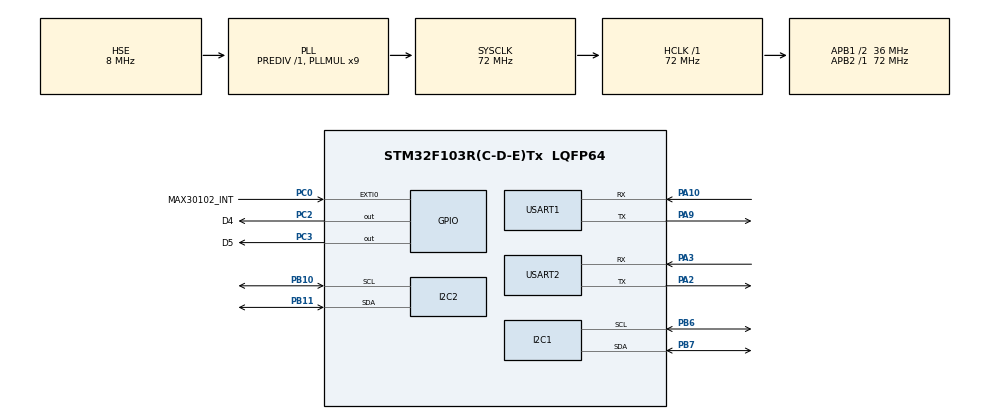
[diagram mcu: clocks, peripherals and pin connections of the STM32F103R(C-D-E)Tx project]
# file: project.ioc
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FREERTOS.BinarySemaphores01=LED_FLAG_Sem,Dynamic,NULL
FREERTOS.INCLUDE_eTaskGetState=1
FREERTOS.INCLUDE_pcTaskGetTaskName=1
FREERTOS.INCLUDE_uxTaskGetStackHighWaterMark=1
FREERTOS.INCLUDE_vTaskCleanUpResources=1
FREERTOS.INCLUDE_vTaskDelayUntil=1
FREERTOS.INCLUDE_xEventGroupSetBitFromISR=1
FREERTOS.INCLUDE_xQueueGetMutexHolder=1
FREERTOS.INCLUDE_xSemaphoreGetMutexHolder=1
FREERTOS.INCLUDE_xTaskAbortDelay=1
FREERTOS.INCLUDE_xTaskGetCurrentTaskHandle=1
FREERTOS.INCLUDE_xTaskGetHandle=1
FREERTOS.INCLUDE_xTimerPendFunctionCall=1
FREERTOS.Queues01=myQueue01,16,float,0,Dynamic,NULL,NULL;myQueue02,16,_Bool,0,Dynamic,NULL,NULL
FREERTOS.Tasks01=BH1750_Task,0,128,BH1750Task,Default,NULL,Dynamic,NULL,NULL;LED_TASK,0,128,LEDTask,Default,NULL,Dynamic,NULL,NULL;INFO_Task,0,128,INFOTask,Default,NULL,Dynamic,NULL,NULL;OneNETTask,0,128,OneNET_Task,Default,NULL,Dynamic,NULL,NULL;MAX30102_Task,1,128,MAX30102Task,Default,NULL,Dynamic,NULL,NULL
FREERTOS.Timers01=myTimer01,Timer01_Callback,osTimerPeriodic,Default,NULL,Dynamic,NULL
FREERTOS.configTIMER_QUEUE_LENGTH=20
FREERTOS.configTIMER_TASK_PRIORITY=4
FREERTOS.configTOTAL_HEAP_SIZE=4000
FREERTOS.configUSE_TIMERS=1
Mcu.Family=STM32F1
Mcu.Name=STM32F103R(C-D-E)Tx
Mcu.Package=LQFP64
NVIC.EXTI0_IRQn=true\:5\:0\:true\:false\:true\:true\:true\:true
NVIC.PriorityGroup=NVIC_PRIORITYGROUP_4
NVIC.TIM1_UP_IRQn=true\:15\:0\:false\:false\:true\:false\:false\:true
NVIC.TimeBase=TIM1_UP_IRQn
NVIC.TimeBaseIP=TIM1
NVIC.USART2_IRQn=true\:5\:0\:false\:false\:true\:true\:true\:true
NVIC.WWDG_IRQn=true\:5\:0\:false\:false\:true\:true\:true\:true
PA10.Mode=Asynchronous
PA10.Signal=USART1_RX
PA13.Mode=Serial_Wire
PA13.Signal=SYS_JTMS-SWDIO
PA14.Mode=Serial_Wire
PA14.Signal=SYS_JTCK-SWCLK
PA2.Mode=Asynchronous
PA2.Signal=USART2_TX
PA3.Mode=Asynchronous
PA3.Signal=USART2_RX
PA9.Mode=Asynchronous
PA9.Signal=USART1_TX
PB10.Mode=I2C
PB10.Signal=I2C2_SCL
PB11.Mode=I2C
PB11.Signal=I2C2_SDA
PB6.Mode=I2C
PB6.Signal=I2C1_SCL
PB7.Mode=I2C
PB7.Signal=I2C1_SDA
PC0.GPIO_Label=MAX30102_INT
PC0.GPIO_ModeDefaultEXTI=GPIO_MODE_IT_FALLING
PC0.GPIO_PuPd=GPIO_PULLUP
PC0.Signal=GPXTI0
PC14-OSC32_IN.Mode=LSE-External-Oscillator
PC14-OSC32_IN.Signal=RCC_OSC32_IN
PC15-OSC32_OUT.Mode=LSE-External-Oscillator
PC15-OSC32_OUT.Signal=RCC_OSC32_OUT
PC2.GPIO_Label=D4
PC2.GPIO_ModeDefaultOutputPP=GPIO_MODE_OUTPUT_PP
PC2.GPIO_PuPd=GPIO_PULLUP
PC2.GPIO_Speed=GPIO_SPEED_FREQ_HIGH
PC2.PinState=GPIO_PIN_SET
PC2.Signal=GPIO_Output
PC3.GPIO_Label=D5
PC3.GPIO_PuPd=GPIO_PULLUP
PC3.GPIO_Speed=GPIO_SPEED_FREQ_HIGH
PC3.PinState=GPIO_PIN_SET
PC3.Signal=GPIO_Output
PD0-OSC_IN.Mode=HSE-External-Oscillator
PD0-OSC_IN.Signal=RCC_OSC_IN
PD1-OSC_OUT.Mode=HSE-External-Oscillator
PD1-OSC_OUT.Signal=RCC_OSC_OUT
ProjectManager.HeapSize=0x400
ProjectManager.StackSize=0xA00
ProjectManager.TargetToolchain=MDK-ARM V5
RCC.AHBFreq_Value=72000000
RCC.APB1CLKDivider=RCC_HCLK_DIV2
RCC.APB1Freq_Value=36000000
RCC.APB1TimFreq_Value=72000000
RCC.APB2Freq_Value=72000000
RCC.APB2TimFreq_Value=72000000
RCC.HCLKFreq_Value=72000000
RCC.PLLMUL=RCC_PLL_MUL9
RCC.PLLSourceVirtual=RCC_PLLSOURCE_HSE
RCC.RTCClockSelection=RCC_RTCCLKSOURCE_LSE
RCC.SYSCLKFreq_VALUE=72000000
RCC.SYSCLKSource=RCC_SYSCLKSOURCE_PLLCLK
RCC.USBFreq_Value=72000000
USART1.VirtualMode=VM_ASYNC
USART2.VirtualMode=VM_ASYNC
VP_FREERTOS_VS_CMSIS_V1.Mode=CMSIS_V1
VP_RTC_VS_RTC_Activate.Mode=RTC_Enabled
VP_RTC_VS_RTC_Calendar.Mode=RTC_Calendar
VP_SYS_VS_tim1.Mode=TIM1
VP_WWDG_VS_WWDG.Mode=WWDG_Activate
WWDG.Counter=0x7f
WWDG.EWIMode=WWDG_EWI_ENABLE
WWDG.Prescaler=WWDG_PRESCALER_8
WWDG.Window=0x5f
board=custom

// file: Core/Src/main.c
/* USER CODE BEGIN Header */
/**
  ******************************************************************************
  * @file           : main.c
  * @brief          : Main program body
  ******************************************************************************
  * @attention
  *
  * <h2><center>&copy; Copyright (c) 2023 STMicroelectronics.
  * All rights reserved.</center></h2>
  *
  * This software component is licensed by ST under Ultimate Liberty license
  * SLA0044, the "License"; You may not use this file except in compliance with
  * the License. You may obtain a copy of the License at:
  *                             www.st.com/SLA0044
  *
  ******************************************************************************
  */
/* USER CODE END Header */
#include "main.h"
#include "cmsis_os.h"
#include "i2c.h"
#include "rtc.h"
#include "usart.h"
#include "wwdg.h"
#include "gpio.h"

/* USER CODE BEGIN Includes */
#include <string.h>
#include <stdio.h>
#include "BH1750/bsp_bh1750.h"
#include "ESP/bsp_esp01s.h"
#include "ONENET/onenet.h"
#include "MQTT/MqttKit.h"
#include "MAX30102/bsp_max30102.h"
#include "MAX30102/bsp_max30102_fir.h"
/* USER CODE END Includes */

void SystemClock_Config(void);
void MX_FREERTOS_Init(void);

int main(void)
{

  /* MCU Configuration--------------------------------------------------------*/

  /* Reset of all peripherals, Initializes the Flash interface and the Systick. */
  HAL_Init();

  /* Configure the system clock */
  SystemClock_Config();

  /* Initialize all configured peripherals */
  MX_GPIO_Init();
  MX_USART1_UART_Init();
  MX_I2C1_Init();
  MX_I2C2_Init();
  MX_USART2_UART_Init();
  MX_RTC_Init();
  MX_WWDG_Init();

  /* Call init function for freertos objects (in freertos.c) */
  MX_FREERTOS_Init();
  /* Start scheduler */
  osKernelStart();

  /* We should never get here as control is now taken by the scheduler */
  /* Infinite loop */
  while (1)
  {

  }
}

void SystemClock_Config(void)
{
  RCC_OscInitTypeDef RCC_OscInitStruct = {0};
  RCC_ClkInitTypeDef RCC_ClkInitStruct = {0};
  RCC_PeriphCLKInitTypeDef PeriphClkInit = {0};

  /** Initializes the RCC Oscillators according to the specified parameters
  * in the RCC_OscInitTypeDef structure.
  */
  RCC_OscInitStruct.OscillatorType = RCC_OSCILLATORTYPE_HSE|RCC_OSCILLATORTYPE_LSE;
  RCC_OscInitStruct.HSEState = RCC_HSE_ON;
  RCC_OscInitStruct.HSEPredivValue = RCC_HSE_PREDIV_DIV1;
  RCC_OscInitStruct.LSEState = RCC_LSE_ON;
  RCC_OscInitStruct.HSIState = RCC_HSI_ON;
  RCC_OscInitStruct.PLL.PLLState = RCC_PLL_ON;
  RCC_OscInitStruct.PLL.PLLSource = RCC_PLLSOURCE_HSE;
  RCC_OscInitStruct.PLL.PLLMUL = RCC_PLL_MUL9;
  if (HAL_RCC_OscConfig(&RCC_OscInitStruct) != HAL_OK)
  {
    Error_Handler();
  }
  /** Initializes the CPU, AHB and APB buses clocks
  */
  RCC_ClkInitStruct.ClockType = RCC_CLOCKTYPE_HCLK|RCC_CLOCKTYPE_SYSCLK
                              |RCC_CLOCKTYPE_PCLK1|RCC_CLOCKTYPE_PCLK2;
  RCC_ClkInitStruct.SYSCLKSource = RCC_SYSCLKSOURCE_PLLCLK;
  RCC_ClkInitStruct.AHBCLKDivider = RCC_SYSCLK_DIV1;
  RCC_ClkInitStruct.APB1CLKDivider = RCC_HCLK_DIV2;
  RCC_ClkInitStruct.APB2CLKDivider = RCC_HCLK_DIV1;

  if (HAL_RCC_ClockConfig(&RCC_ClkInitStruct, FLASH_LATENCY_2) != HAL_OK)
  {
    Error_Handler();
  }
  PeriphClkInit.PeriphClockSelection = RCC_PERIPHCLK_RTC;
  PeriphClkInit.RTCClockSelection = RCC_RTCCLKSOURCE_LSE;
  if (HAL_RCCEx_PeriphCLKConfig(&PeriphClkInit) != HAL_OK)
  {
    Error_Handler();
  }
}

void HAL_TIM_PeriodElapsedCallback(TIM_HandleTypeDef *htim)
{
  if (htim->Instance == TIM1) {
    HAL_IncTick();
  }
}

void Error_Handler(void)
{
  __disable_irq();
  while (1)
  {
  }
}

/************************ (C) COPYRIGHT STMicroelectronics *****END OF FILE****/

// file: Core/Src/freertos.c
/* USER CODE BEGIN Header */
/**
  ******************************************************************************
  * File Name          : freertos.c
  * Description        : Code for freertos applications
  ******************************************************************************
  * @attention
  *
  * <h2><center>&copy; Copyright (c) 2023 STMicroelectronics.
  * All rights reserved.</center></h2>
  *
  * This software component is licensed by ST under Ultimate Liberty license
  * SLA0044, the "License"; You may not use this file except in compliance with
  * the License. You may obtain a copy of the License at:
  *                             www.st.com/SLA0044
  *
  ******************************************************************************
  */
/* USER CODE END Header */

#include "FreeRTOS.h"
#include "task.h"
#include "main.h"
#include "cmsis_os.h"

/* USER CODE BEGIN Includes */
#include "BH1750/bsp_bh1750.h"
#include "ESP/bsp_esp01s.h"
#include "ONENET/onenet.h"
#include "MQTT/MqttKit.h"
#include "MAX30102/bsp_max30102.h"
#include "MAX30102/bsp_max30102_fir.h"
/* USER CODE END Includes */

/* USER CODE BEGIN Variables */
RTC_DateTypeDef GetData;  	//获取日期结构体
RTC_TimeTypeDef GetTime;   	//获取时间结构体

uint8_t FeedDog_Flag = 0;

float LIGH_OneNET_buf;
uint8_t LEDS_OneNET_buf;

static volatile uint8_t flagTimer01Run = 0;

uint8_t max30102_int_flag = 0; // 中断标志
float ppg_data_cache_RED[CACHE_NUMS] = {0}; // 缓存区
float ppg_data_cache_IR[CACHE_NUMS] = {0};  // 缓存区
uint16_t cache_counter = 0; // 缓存计数器

uint16_t HeartRateold = 0;

/* USER CODE END Variables */
osThreadId BH1750_TaskHandle;
osThreadId LED_TASKHandle;
osThreadId INFO_TaskHandle;
osThreadId OneNETTaskHandle;
osThreadId MAX30102_TaskHandle;
osMessageQId myQueue01Handle;
osMessageQId myQueue02Handle;
osTimerId myTimer01Handle;
osSemaphoreId LED_FLAG_SemHandle;

void BH1750Task(void const * argument);
void LEDTask(void const * argument);
void INFOTask(void const * argument);
void OneNET_Task(void const * argument);
void MAX30102Task(void const * argument);
void Timer01_Callback(void const * argument);

void MX_FREERTOS_Init(void); /* (MISRA C 2004 rule 8.1) */

/* GetIdleTaskMemory prototype (linked to static allocation support) */
void vApplicationGetIdleTaskMemory( StaticTask_t **ppxIdleTaskTCBBuffer, StackType_t **ppxIdleTaskStackBuffer, uint32_t *pulIdleTaskStackSize );

/* GetTimerTaskMemory prototype (linked to static allocation support) */
void vApplicationGetTimerTaskMemory( StaticTask_t **ppxTimerTaskTCBBuffer, StackType_t **ppxTimerTaskStackBuffer, uint32_t *pulTimerTaskStackSize );

/* USER CODE BEGIN GET_IDLE_TASK_MEMORY */
static StaticTask_t xIdleTaskTCBBuffer;
static StackType_t xIdleStack[configMINIMAL_STACK_SIZE];

void vApplicationGetIdleTaskMemory( StaticTask_t **ppxIdleTaskTCBBuffer, StackType_t **ppxIdleTaskStackBuffer, uint32_t *pulIdleTaskStackSize )
{
  *ppxIdleTaskTCBBuffer = &xIdleTaskTCBBuffer;
  *ppxIdleTaskStackBuffer = &xIdleStack[0];
  *pulIdleTaskStackSize = configMINIMAL_STACK_SIZE;
  /* place for user code */
}
/* USER CODE END GET_IDLE_TASK_MEMORY */

/* USER CODE BEGIN GET_TIMER_TASK_MEMORY */
static StaticTask_t xTimerTaskTCBBuffer;
static StackType_t xTimerStack[configTIMER_TASK_STACK_DEPTH];

void vApplicationGetTimerTaskMemory( StaticTask_t **ppxTimerTaskTCBBuffer, StackType_t **ppxTimerTaskStackBuffer, uint32_t *pulTimerTaskStackSize )
{
  *ppxTimerTaskTCBBuffer = &xTimerTaskTCBBuffer;
  *ppxTimerTaskStackBuffer = &xTimerStack[0];
  *pulTimerTaskStackSize = configTIMER_TASK_STACK_DEPTH;
  /* place for user code */
}
/* USER CODE END GET_TIMER_TASK_MEMORY */

void MX_FREERTOS_Init(void) {

  /* Create the semaphores(s) */
  /* definition and creation of LED_FLAG_Sem */
  osSemaphoreDef(LED_FLAG_Sem);
  LED_FLAG_SemHandle = osSemaphoreCreate(osSemaphore(LED_FLAG_Sem), 1);

  /* Create the timer(s) */
  /* definition and creation of myTimer01 */
  osTimerDef(myTimer01, Timer01_Callback);
  myTimer01Handle = osTimerCreate(osTimer(myTimer01), osTimerPeriodic, NULL);

  /* USER CODE BEGIN RTOS_TIMERS */
	osTimerStart(myTimer01Handle,20000);							//10000代表回调函数回调周期
  /* start timers, add new ones, ... */
  /* USER CODE END RTOS_TIMERS */

  /* Create the queue(s) */
  /* definition and creation of myQueue01 */
  osMessageQDef(myQueue01, 16, float);
  myQueue01Handle = osMessageCreate(osMessageQ(myQueue01), NULL);

  /* definition and creation of myQueue02 */
  osMessageQDef(myQueue02, 16, _Bool);
  myQueue02Handle = osMessageCreate(osMessageQ(myQueue02), NULL);

  /* Create the thread(s) */
  /* definition and creation of BH1750_Task */
  osThreadDef(BH1750_Task, BH1750Task, osPriorityNormal, 0, 128);
  BH1750_TaskHandle = osThreadCreate(osThread(BH1750_Task), NULL);

  /* definition and creation of LED_TASK */
  osThreadDef(LED_TASK, LEDTask, osPriorityNormal, 0, 128);
  LED_TASKHandle = osThreadCreate(osThread(LED_TASK), NULL);

  /* definition and creation of INFO_Task */
  osThreadDef(INFO_Task, INFOTask, osPriorityNormal, 0, 128);
  INFO_TaskHandle = osThreadCreate(osThread(INFO_Task), NULL);

  /* definition and creation of OneNETTask */
  osThreadDef(OneNETTask, OneNET_Task, osPriorityNormal, 0, 128);
  OneNETTaskHandle = osThreadCreate(osThread(OneNETTask), NULL);

  /* definition and creation of MAX30102_Task */
  osThreadDef(MAX30102_Task, MAX30102Task, osPriorityAboveNormal, 0, 128);
  MAX30102_TaskHandle = osThreadCreate(osThread(MAX30102_Task), NULL);

}

void BH1750Task(void const * argument)
{
  /* USER CODE BEGIN BH1750Task */
	float LIGH = 0;
	uint8_t opecode;
	int dis_data = 0;
	uint8_t DATA_BUF[8] = { 0 };

	Init_BH1750();
	HAL_Delay(200);
  /* Infinite loop */
  for(;;)
  {
		opecode = 0x01;
		if ( I2C_BH1750_Opecode_Write(&opecode, 1) != HAL_OK){
			printf("I2C_BH1750_Opecode_Write: %2x Error\n", opecode);
			return;
		}
		opecode = 0x10;
		if ( I2C_BH1750_Opecode_Write(&opecode, 1) != HAL_OK){
			printf("I2C_BH1750_Opecode_Write: %2x Error\n", opecode);
			return;
		}
		HAL_Delay(200);
		if ( I2C_BH1750_Data_Read(DATA_BUF, 2) != HAL_OK){
			printf("I2C_BH1750_Data_Read:  Error\n");
			return;
		}
		dis_data =(DATA_BUF[0]);
		dis_data=(dis_data<<8)+ (DATA_BUF[1]);														//合成数据
		LIGH=(float)dis_data/1.2;
		LIGH_OneNET_buf = LIGH;																						//将光照强度数据放入onenet的数据缓冲区中
		xQueueSendToFront(myQueue01Handle,&LIGH,portMAX_DELAY);						//myQueue01消息队列用于BH1750Task与LEDTask进行数据交换

		osDelay(2000);
  }
  /* USER CODE END BH1750Task */
}

void LEDTask(void const * argument)
{
  /* USER CODE BEGIN LEDTask */
	float LIGH = 0;
	volatile uint32_t ul; 																							//volatile用来避免被优化掉
	_Bool LED_FLAG;
  /* Infinite loop */
  for(;;)
  {
		xQueueReceive(myQueue01Handle,&LIGH,portMAX_DELAY);
		if(LIGH<20)
		{
			HAL_GPIO_WritePin(GPIOC, D4_Pin|D5_Pin, GPIO_PIN_RESET);				//开灯
			LED_FLAG =1;																										//LED开启标志位置1
			if(xSemaphoreGive(LED_FLAG_SemHandle) == pdTRUE)								//如果开启LED(光照强度小于20)，则释放信号量，LED_FLAG_Sem加1
			{
				xQueueSendToFront(myQueue02Handle,&LED_FLAG,portMAX_DELAY);
			}
		}
		else
		{
			HAL_GPIO_WritePin(GPIOC, D4_Pin|D5_Pin, GPIO_PIN_SET);
			LED_FLAG =0;
			if(xSemaphoreTake(LED_FLAG_SemHandle,0) == pdTRUE)							//如果关闭LED(光照强度大于20)，则获取信号量，LED_FLAG_Sem减1，如果信号量无余量，则立即返回
			{
				xQueueSendToFront(myQueue02Handle,&LED_FLAG,portMAX_DELAY);
			}
		}
		LEDS_OneNET_buf = LED_FLAG;
    osDelay(1000);
  }
  /* USER CODE END LEDTask */
}

void INFOTask(void const * argument)
{
  /* USER CODE BEGIN INFOTask */
	_Bool LED_FLAG;
  /* Infinite loop */
  for(;;)
  {
		xQueueReceive(myQueue02Handle,&LED_FLAG,portMAX_DELAY);						//接收消息队列中LED开启标志位的最新状态
		if(LED_FLAG)
		{
			printf("\r\nLED ON\r\n");
			LED_FLAG = NULL;
		}else{
			printf("\r\nLED OFF\r\n");
			LED_FLAG = NULL;
		}
    osDelay(1000);
  }
  /* USER CODE END INFOTask */
}

void OneNET_Task(void const * argument)
{
  /* USER CODE BEGIN OneNET_Task */
	unsigned short timeCount = 0;
	unsigned char *dataPtr = NULL;

	ESP8266_Init();
	while(OneNet_DevLink());
	printf("连接ONENET成功\t[OK]\r\n");

  /* Infinite loop */
  for(;;)
  {
		if(++timeCount >= 100)				//2500ms / 25 = 100 发送间隔2500ms
		{
			OneNet_SendData();					//打包数据包发送到ONENET云平台，一次只能打包一个数据流发送，若要发得更快就调整发送时间间隔
			timeCount = 0;							//时间间隔计时清0
			ESP8266_Clear();						//数据包清空
		}
		dataPtr = ESP8266_GetIPD(3);	//检测平台是否有响应
		if(dataPtr != NULL)
		OneNet_RevPro(dataPtr);

    osDelay(100);
  }
  /* USER CODE END OneNET_Task */
}

void MAX30102Task(void const * argument)
{
  /* USER CODE BEGIN MAX30102Task */
	uint16_t HeartRate = 0;
	float SpO2 = 0;
	float max30102_data[2], fir_output[2];

	max30102_init();
  max30102_fir_init();

  printf("Max30102 Init\tOK\r\n");

  /* Infinite loop */
  for(;;)
  {
		if(MAX30102_Get_DATA(&HeartRate,&SpO2,max30102_data,fir_output) == MAX30102_DATA_OK)
		{

			printf("\r\n心率：%d次/min\r\n"	, HeartRate); //当前的心率打印出来
			if(HeartRate-HeartRateold>=50)
			{
				printf("\r\n压力好大\r\n"); //当前的压力
			}
			else if(HeartRate-HeartRateold<50&&HeartRate-HeartRateold>30)
			{
				printf("\r\n压力正常\r\n"); //当前的压力
			}
			else
			{
				printf("\r\n完全没压力\r\n"); //当前的压力
			}
			HeartRateold = HeartRate;
			printf("血氧：%.2f%%\r\n"		, SpO2);
		}
    osDelay(1);
  }
  /* USER CODE END MAX30102Task */
}

/* Timer01_Callback function */
void Timer01_Callback(void const * argument)
{
  /* USER CODE BEGIN Timer01_Callback */
	HAL_RTC_GetTime(&hrtc, &GetTime, RTC_FORMAT_BIN);
	/* Get the RTC current Date */
	HAL_RTC_GetDate(&hrtc, &GetData, RTC_FORMAT_BIN);

	if (FeedDog_Flag == FeedDog)
	{
		FeedDog_Flag = NoFeedDog;

		printf("\r\n%02d/%02d/%02d\r\n",2000 + GetData.Year, GetData.Month, GetData.Date);

		printf("%02d:%02d:%02d\r\n",GetTime.Hours, GetTime.Minutes, GetTime.Seconds);
	}
  /* USER CODE END Timer01_Callback */
}

/************************ (C) COPYRIGHT STMicroelectronics *****END OF FILE****/
